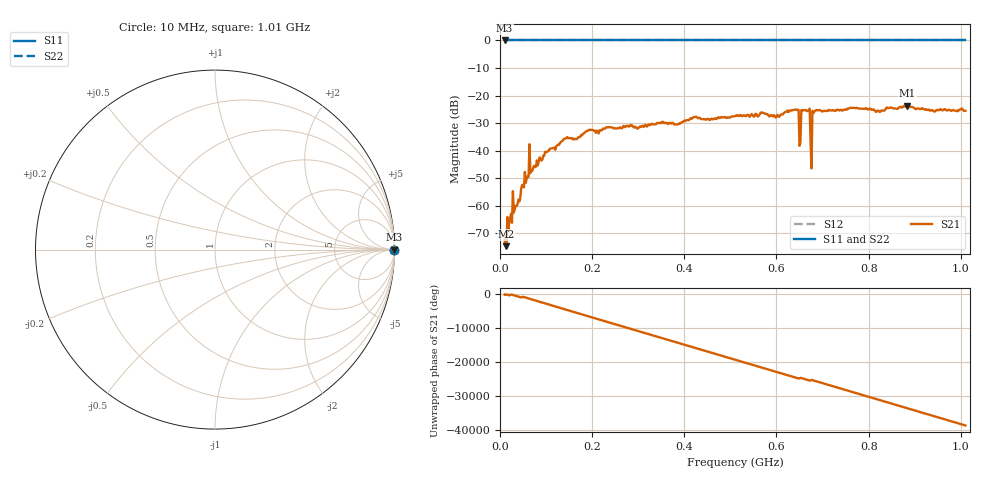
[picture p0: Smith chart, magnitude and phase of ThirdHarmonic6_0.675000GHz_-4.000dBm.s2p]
! 8/15/2025 10:28:42 PM
! C:\ANRITSUVNA\TEMP\TEMP.S2P
! CHANNEL.1
! TR.MEASUREMENT
! RAW.DATA
! RF.CORRECTION.OFF
! AVERAGING.OFF
! IF.BANDWIDTH: 5KHZ
! SWEEPTYPE:  FREQ.SWEEP(Linear)
! Reference Plane Port Info
! PORT:  PORT1  PORT2
! DISTANCE:  0  m  0  m
! TIME:  0  s  0  s
! PHASE.OFFSET:  0  deg.  0  deg.
! LOSS:  0  dB  0  dB
! REF.LOSS:  0  dB  0  dB
! REF.FREQ:  0  Hz  0  Hz
! Power Info
! POWER:  -20  dBm  -20  dBm
! EFF.POWER:  -20  dBm  -20  dBm
! SOURCE.ATTEN:  0  dB  0  dB
! TEST.ATTEN:  0  dB  0  dB
# GHZ S RI R 50.0
! FREQ.GHZ  S11RE  S11IM  S21RE  S21IM  S12RE  S12IM  S22RE  S22IM
!; PortSelection: Port_12
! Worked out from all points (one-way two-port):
!   501 points, 10 MHz to 1.01 GHz, reference 50 ohm
!   highest |S21| = -23.73 dB at 884 MHz (marker M1); lowest = -74.7 dB at 14 MHz (marker M2)
!   lowest |S11| = 0.0 dB at 10 MHz (marker M3)
!   |S11| at or under -10 dB: nowhere
!   |S22| runs from 0.0 to 0.0 dB; largest |S21 - S12| = 1.1
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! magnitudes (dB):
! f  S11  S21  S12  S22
! 10 MHz  0.0  -73.8  0.0  0.0
! 14 MHz  0.0  -74.7  0.0  0.0
! 24 MHz  0.0  -63.0  0.0  0.0
! 40 MHz  0.0  -57.8  0.0  0.0
! 50 MHz  0.0  -52.5  0.0  0.0
! 68 MHz  0.0  -47.3  0.0  0.0
! 142 MHz  0.0  -35.7  0.0  0.0
! 178 MHz  0.0  -34.4  0.0  0.0
! 344 MHz  0.0  -30.1  0.0  0.0
! 510 MHz  0.0  -27.4  0.0  0.0
! 644 MHz  0.0  -25.1  0.0  0.0
! 648 MHz  0.0  -25.2  0.0  0.0
! 654 MHz  0.0  -25.3  0.0  0.0
! 658 MHz  0.0  -25.4  0.0  0.0
! 668 MHz  0.0  -25.6  0.0  0.0
! 672 MHz  0.0  -24.8  0.0  0.0
! 678 MHz  0.0  -25.6  0.0  0.0
! 682 MHz  0.0  -25.8  0.0  0.0
! 688 MHz  0.0  -25.3  0.0  0.0
! 844 MHz  0.0  -24.6  0.0  0.0
! 884 MHz  0.0  -23.7  0.0  0.0
! 1.01 GHz  0.0  -25.6  0.0  0.0
